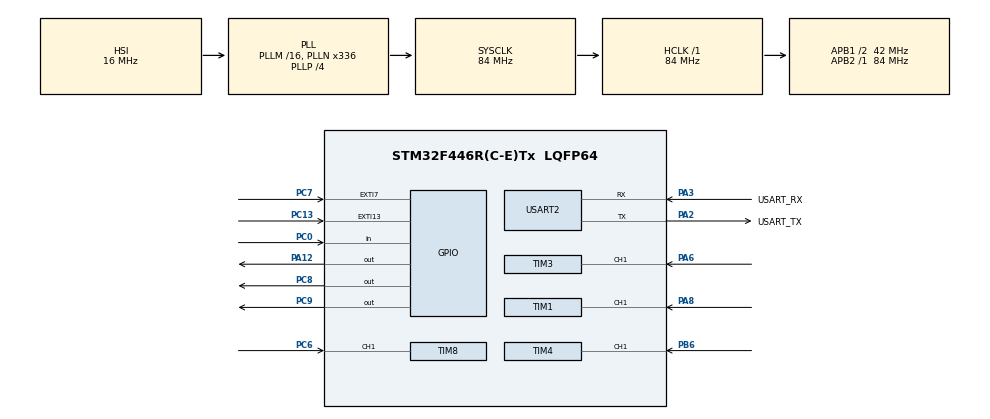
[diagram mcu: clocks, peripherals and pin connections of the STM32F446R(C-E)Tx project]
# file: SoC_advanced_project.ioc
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Mcu.Family=STM32F4
Mcu.Name=STM32F446R(C-E)Tx
Mcu.Package=LQFP64
NVIC.EXTI15_10_IRQn=true\:0\:0\:false\:false\:true\:true\:true\:true
NVIC.EXTI9_5_IRQn=true\:0\:0\:false\:false\:true\:true\:true\:true
NVIC.PriorityGroup=NVIC_PRIORITYGROUP_0
NVIC.TIM1_CC_IRQn=true\:0\:0\:false\:false\:true\:true\:true\:true
NVIC.TIM3_IRQn=true\:0\:0\:false\:false\:true\:true\:true\:true
NVIC.TIM4_IRQn=true\:0\:0\:false\:false\:true\:true\:true\:true
NVIC.TIM8_CC_IRQn=true\:0\:0\:false\:false\:true\:true\:true\:true
PA12.Signal=GPIO_Output
PA13.GPIO_Label=TMS
PA13.Mode=Serial_Wire
PA13.Signal=SYS_JTMS-SWDIO
PA14.GPIO_Label=TCK
PA14.Mode=Serial_Wire
PA14.Signal=SYS_JTCK-SWCLK
PA2.GPIO_Label=USART_TX
PA2.Mode=Asynchronous
PA2.Signal=USART2_TX
PA3.GPIO_Label=USART_RX
PA3.Mode=Asynchronous
PA3.Signal=USART2_RX
PA6.Signal=S_TIM3_CH1
PA8.Signal=S_TIM1_CH1
PB3.GPIO_Label=SWO
PB3.Signal=SYS_JTDO-SWO
PB6.Signal=S_TIM4_CH1
PC0.Signal=GPIO_Input
PC13.GPIO_ModeDefaultEXTI=GPIO_MODE_IT_RISING_FALLING
PC13.Signal=GPXTI13
PC14-OSC32_IN.Mode=LSE-External-Oscillator
PC14-OSC32_IN.Signal=RCC_OSC32_IN
PC15-OSC32_OUT.Mode=LSE-External-Oscillator
PC15-OSC32_OUT.Signal=RCC_OSC32_OUT
PC6.Signal=S_TIM8_CH1
PC7.GPIO_ModeDefaultEXTI=GPIO_MODE_IT_RISING_FALLING
PC7.Signal=GPXTI7
PC8.Signal=GPIO_Output
PC9.Signal=GPIO_Output
PH0-OSC_IN.Mode=HSE-External-Oscillator
PH0-OSC_IN.Signal=RCC_OSC_IN
PH1-OSC_OUT.Mode=HSE-External-Oscillator
PH1-OSC_OUT.Signal=RCC_OSC_OUT
ProjectManager.HeapSize=0x200
ProjectManager.StackSize=0x400
ProjectManager.TargetToolchain=STM32CubeIDE
RCC.48MHZClocksFreq_Value=84000000
RCC.AHBFreq_Value=84000000
RCC.APB1CLKDivider=RCC_HCLK_DIV2
RCC.APB1Freq_Value=42000000
RCC.APB1TimFreq_Value=84000000
RCC.APB2Freq_Value=84000000
RCC.APB2TimFreq_Value=84000000
RCC.CortexFreq_Value=84000000
RCC.FLatency-AdvancedSettings=FLASH_LATENCY_2
RCC.HCLKFreq_Value=84000000
RCC.HSE_VALUE=8000000
RCC.HSI_VALUE=16000000
RCC.PLLN=336
RCC.PLLP=RCC_PLLP_DIV4
RCC.SYSCLKFreq_VALUE=84000000
RCC.SYSCLKSource=RCC_SYSCLKSOURCE_PLLCLK
RCC.USBFreq_Value=168000000
RCC.VCOOutputFreq_Value=336000000
SH.S_TIM1_CH1.0=TIM1_CH1,Input_Capture1_from_TI1
SH.S_TIM3_CH1.0=TIM3_CH1,Input_Capture1_from_TI1
SH.S_TIM4_CH1.0=TIM4_CH1,Input_Capture1_from_TI1
SH.S_TIM8_CH1.0=TIM8_CH1,Input_Capture1_from_TI1
TIM1.Channel-Input_Capture1_from_TI1=TIM_CHANNEL_1
TIM1.Prescaler=84-1
TIM3.Channel-Input_Capture1_from_TI1=TIM_CHANNEL_1
TIM3.Prescaler=84-1
TIM4.Channel-Input_Capture1_from_TI1=TIM_CHANNEL_1
TIM4.Prescaler=84-1
TIM8.Channel-Input_Capture1_from_TI1=TIM_CHANNEL_1
TIM8.Prescaler=84-1
USART2.VirtualMode=VM_ASYNC
board=NUCLEO-F446RE

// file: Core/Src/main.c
/* USER CODE BEGIN Header */
/**
 ******************************************************************************
 * @file           : main.c
 * @brief          : Main program body
 ******************************************************************************
 * @attention
 *
 * Copyright (c) 2023 STMicroelectronics.
 * All rights reserved.
 *
 * This software is licensed under terms that can be found in the LICENSE file
 * in the root directory of this software component.
 * If no LICENSE file comes with this software, it is provided AS-IS.
 *
 ******************************************************************************
 */
/* USER CODE END Header */
#include "main.h"

/* USER CODE BEGIN Includes */
#include <stdio.h>
#include <stdbool.h>
#include <string.h>
#include <math.h>
#include <stdlib.h>
#include <time.h>
/* USER CODE END Includes */

/* USER CODE BEGIN PM */
#define TRIG_PIN GPIO_PIN_8
#define TRIG_PORT GPIOC
#define WINDOW_SIZE 3
#define THRESHOLD 10
#define STRIKE_LIMIT 3
/* USER CODE END PM */

TIM_HandleTypeDef htim1;
TIM_HandleTypeDef htim3;
TIM_HandleTypeDef htim4;
TIM_HandleTypeDef htim8;

UART_HandleTypeDef huart2;

void SystemClock_Config(void);
static void MX_GPIO_Init(void);
static void MX_USART2_UART_Init(void);
static void MX_TIM1_Init(void);
static void MX_TIM8_Init(void);
static void MX_TIM3_Init(void);
static void MX_TIM4_Init(void);
/* USER CODE BEGIN PFP */
void turn_ignition_on();
void turn_vehicle_on();
bool check_alcohol_level();
void start_measurement();
void uS_delay(uint16_t delay);
void HAL_TIM_IC_CaptureCallback(TIM_HandleTypeDef *htim);
void verify_sensor_measurements();
float calculate_median(float *data_points);
void median_util(float *arr, int l, int r, int k, int *a, int *b);
int random_partition(float *arr, int l, int r);
int partition(float *arr, int l, int r);
void swap(float *a, float *b);
void check_sensor_measurements();
void check_distance_status();
void HAL_GPIO_EXTI_Callback(uint16_t GPIO_Pin);
void driver_asleep();
void turn_vehicle_off();
void turn_ignition_off();
/* USER CODE END PFP */

/* USER CODE BEGIN 0 */

/* Global variables for state and measurements*/

// Car starting status and parameters
bool is_car_on = false;
bool is_ignition_on = false;
bool is_sleep_detected = false;
uint32_t oneSec = 0;
uint32_t twoSec = 0;
uint8_t measurements_count = 0;

// Final distance measurements
float final_front_distance = 0;
float final_back_distance = 0;

// Front sensor 1
uint32_t start_of_pulse_front_sensor1 = 0;
uint32_t end_of_pulse_front_sensor1 = 0;
uint32_t difference_front_sensor1 = 0;
bool is_start_captured_front_sensor1 = false;
float distance_front_sensor1 = 0;
float window_front_sensor1[WINDOW_SIZE];
bool is_front_sensor1_operative = true;
uint8_t front_sensor1_strikes = 0;

// Front sensor 2
uint32_t start_of_pulse_front_sensor2 = 0;
uint32_t end_of_pulse_front_sensor2 = 0;
uint32_t difference_front_sensor2 = 0;
bool is_start_captured_front_sensor2 = false;
float distance_front_sensor2 = 0;
float window_front_sensor2[WINDOW_SIZE];
bool is_front_sensor2_operative = true;
uint8_t front_sensor2_strikes = 0;

// Back sensor 1
uint32_t start_of_pulse_back_sensor1 = 0;
uint32_t end_of_pulse_back_sensor1 = 0;
uint32_t difference_back_sensor1 = 0;
bool is_start_captured_back_sensor1 = false;
float distance_back_sensor1 = 0;
float window_back_sensor1[WINDOW_SIZE];
bool is_back_sensor1_operative = true;
uint8_t back_sensor1_strikes = 0;

// Back sensor 2
uint32_t start_of_pulse_back_sensor2 = 0;
uint32_t end_of_pulse_back_sensor2 = 0;
uint32_t difference_back_sensor2 = 0;
bool is_start_captured_back_sensor2 = false;
float distance_back_sensor2 = 0;
float window_back_sensor2[WINDOW_SIZE];
bool is_back_sensor2_operative = true;
uint8_t back_sensor2_strikes = 0;

/* Functions */

/**
 * @brief Emulates turning on the car ignition.
 * @param None
 * @retval None
 */
void turn_ignition_on() {

	is_sleep_detected = false;
	is_ignition_on = true;
	char txt[] = "Turning Ignition ON...\n\r";
	HAL_UART_Transmit(&huart2, (const uint8_t*) txt, strlen(txt), 100);

}

/**
 * @brief Emulates turning on the car.
 * @param None
 * @retval None
 */
void turn_vehicle_on() {

	char txt[] = "Turning car ON...\n\r";
	HAL_UART_Transmit(&huart2, (const uint8_t*) txt, strlen(txt), 100);
	is_car_on = true;

}

/**
 * @brief Checks alcohol level to determine if car is allowed to be started (low alcohol level)
 * or if car is not allowed to start (high alcohol level.)
 * @param None
 * @retval false Alcohol level low --> start car
 * @retval true Alcohol level high --> turn car off
 */
bool check_alcohol_level() {

	char txt[] = "Testing alcohol level...\n\r";
	HAL_UART_Transmit(&huart2, (const uint8_t*) txt, strlen(txt), 100);
	HAL_Delay(5000);

	if (HAL_GPIO_ReadPin(GPIOC, GPIO_PIN_0) == GPIO_PIN_RESET) {
		char txt[] = "Alcohol level high! ";
		HAL_UART_Transmit(&huart2, (const uint8_t*) txt, strlen(txt), 100);
		return true;
	}

	else {
		char txt[] = "Alcohol level low. ";
		HAL_UART_Transmit(&huart2, (const uint8_t*) txt, strlen(txt), 100);
		return false;
	}

}

/**
 * @brief Triggers the sensors to start measuring the distances.
 * @param None
 * @retval None
 */
void start_measurement() {

	// Pull pin high for 10 us to trigger measurement
	HAL_GPIO_WritePin(TRIG_PORT, TRIG_PIN, GPIO_PIN_SET);
	uS_delay(10);
	HAL_GPIO_WritePin(TRIG_PORT, TRIG_PIN, GPIO_PIN_RESET);

	// Only trigger sensor measurement if sensor is not disabled
	if (is_front_sensor1_operative == true) {
		__HAL_TIM_ENABLE_IT(&htim1, TIM_IT_CC1);
	}
	if (is_front_sensor2_operative == true) {
		__HAL_TIM_ENABLE_IT(&htim8, TIM_IT_CC1);
	}
	if (is_back_sensor2_operative == true) {
		__HAL_TIM_ENABLE_IT(&htim3, TIM_IT_CC1);
	}
	if (is_back_sensor1_operative == true) {
		__HAL_TIM_ENABLE_IT(&htim4, TIM_IT_CC1);
	}

	measurements_count =
			measurements_count < 3 ?
					measurements_count + 1 : measurements_count;

}

/**
 * @brief Delay function in microseconds.
 * @param[in] delay The delay time.
 * @retval None
 */
void uS_delay(uint16_t delay) {

	__HAL_TIM_SET_COUNTER(&htim1, 0);
	while (__HAL_TIM_GET_COUNTER(&htim1) < delay)
		;

}

/**
 * @brief Callback function to capture inputs from the distance sensors on change.
 * @param[in] htim The timer instance that triggered the Callback function.
 * @retval None
 */
void HAL_TIM_IC_CaptureCallback(TIM_HandleTypeDef *htim) {

	// Front sensor 1
	if (htim->Instance == TIM1) {
		// Start of pulse
		if (is_start_captured_front_sensor1 == false) {
			start_of_pulse_front_sensor1 = HAL_TIM_ReadCapturedValue(htim,
					TIM_CHANNEL_1);
			is_start_captured_front_sensor1 = true;
			// Change polarity to capture 'Falling Edge'
			__HAL_TIM_SET_CAPTUREPOLARITY(htim, TIM_CHANNEL_1,
					TIM_INPUTCHANNELPOLARITY_FALLING);
		}

		// End of pulse from sensor
		else if (is_start_captured_front_sensor1 == true) {
			end_of_pulse_front_sensor1 = HAL_TIM_ReadCapturedValue(htim,
					TIM_CHANNEL_1);
			__HAL_TIM_SET_COUNTER(htim, 0);

			if (end_of_pulse_front_sensor1 > start_of_pulse_front_sensor1) {
				difference_front_sensor1 = end_of_pulse_front_sensor1
						- start_of_pulse_front_sensor1;
			}

			else if (start_of_pulse_front_sensor1
					> end_of_pulse_front_sensor1) {
				difference_front_sensor1 = (0xffff
						- start_of_pulse_front_sensor1)
						+ end_of_pulse_front_sensor1;
			}

			distance_front_sensor1 = (difference_front_sensor1 * .034 / 2);
			is_start_captured_front_sensor1 = false;

			// Change polarity to capture 'Rising Edge'
			__HAL_TIM_SET_CAPTUREPOLARITY(htim, TIM_CHANNEL_1,
					TIM_INPUTCHANNELPOLARITY_RISING);
			__HAL_TIM_DISABLE_IT(&htim1, TIM_IT_CC1);
		}
	}

	// Front sensor 2
	else if (htim->Instance == TIM8) {
		// Start of pulse
		if (is_start_captured_front_sensor2 == false) {
			start_of_pulse_front_sensor2 = HAL_TIM_ReadCapturedValue(htim,
					TIM_CHANNEL_1);
			is_start_captured_front_sensor2 = true;
			// Change polarity to capture 'Falling Edge'
			__HAL_TIM_SET_CAPTUREPOLARITY(htim, TIM_CHANNEL_1,
					TIM_INPUTCHANNELPOLARITY_FALLING);
		}

		// End of pulse from sensor
		else if (is_start_captured_front_sensor2 == true) {
			end_of_pulse_front_sensor2 = HAL_TIM_ReadCapturedValue(htim,
					TIM_CHANNEL_1);
			__HAL_TIM_SET_COUNTER(htim, 0);

			if (end_of_pulse_front_sensor2 > start_of_pulse_front_sensor2) {
				difference_front_sensor2 = end_of_pulse_front_sensor2
						- start_of_pulse_front_sensor2;
			}

			else if (start_of_pulse_front_sensor2
					> end_of_pulse_front_sensor2) {
				difference_front_sensor2 = (0xffff
						- start_of_pulse_front_sensor2)
						+ end_of_pulse_front_sensor2;
			}

			distance_front_sensor2 = (difference_front_sensor2 * .034 / 2);
			is_start_captured_front_sensor2 = false;

			// Change polarity to capture 'Rising Edge'
			__HAL_TIM_SET_CAPTUREPOLARITY(htim, TIM_CHANNEL_1,
					TIM_INPUTCHANNELPOLARITY_RISING);
			__HAL_TIM_DISABLE_IT(&htim8, TIM_IT_CC1);
		}
	}

	// Back sensor 2
	else if (htim->Instance == TIM3) {
		// Start of pulse
		if (is_start_captured_back_sensor2 == false) {
			start_of_pulse_back_sensor2 = HAL_TIM_ReadCapturedValue(htim,
					TIM_CHANNEL_1);
			is_start_captured_back_sensor2 = true;
			// Change polarity to capture 'Falling Edge'
			__HAL_TIM_SET_CAPTUREPOLARITY(htim, TIM_CHANNEL_1,
					TIM_INPUTCHANNELPOLARITY_FALLING);
		}

		// End of pulse from sensor
		else if (is_start_captured_back_sensor2 == true) {
			end_of_pulse_back_sensor2 = HAL_TIM_ReadCapturedValue(htim,
					TIM_CHANNEL_1);
			__HAL_TIM_SET_COUNTER(htim, 0);

			if (end_of_pulse_back_sensor2 > start_of_pulse_back_sensor2) {
				difference_back_sensor2 = end_of_pulse_back_sensor2
						- start_of_pulse_back_sensor2;
			}

			else if (start_of_pulse_back_sensor2 > end_of_pulse_back_sensor2) {
				difference_back_sensor2 = (0xffff - start_of_pulse_back_sensor2)
						+ end_of_pulse_back_sensor2;
			}

			distance_back_sensor2 = (difference_back_sensor2 * .034 / 2);
			is_start_captured_back_sensor2 = false;

			// Change polarity to capture 'Rising Edge'
			__HAL_TIM_SET_CAPTUREPOLARITY(htim, TIM_CHANNEL_1,
					TIM_INPUTCHANNELPOLARITY_RISING);
			__HAL_TIM_DISABLE_IT(&htim3, TIM_IT_CC1);
		}
	}

	// Back sensor 1
	else if (htim->Instance == TIM4) {
		// Start of pulse
		if (is_start_captured_back_sensor1 == false) {
			start_of_pulse_back_sensor1 = HAL_TIM_ReadCapturedValue(htim,
					TIM_CHANNEL_1);
			is_start_captured_back_sensor1 = true;
			// Change polarity to capture 'Falling Edge'
			__HAL_TIM_SET_CAPTUREPOLARITY(htim, TIM_CHANNEL_1,
					TIM_INPUTCHANNELPOLARITY_FALLING);
		}

		// End of pulse from sensor
		else if (is_start_captured_back_sensor1 == true) {
			end_of_pulse_back_sensor1 = HAL_TIM_ReadCapturedValue(htim,
					TIM_CHANNEL_1);
			__HAL_TIM_SET_COUNTER(htim, 0);

			if (end_of_pulse_back_sensor1 > start_of_pulse_back_sensor1) {
				difference_back_sensor1 = end_of_pulse_back_sensor1
						- start_of_pulse_back_sensor1;
			}

			else if (start_of_pulse_back_sensor1 > end_of_pulse_back_sensor1) {
				difference_back_sensor1 = (0xffff - start_of_pulse_back_sensor1)
						+ end_of_pulse_back_sensor1;
			}

			distance_back_sensor1 = (difference_back_sensor1 * .034 / 2);
			is_start_captured_back_sensor1 = false;

			// Change polarity to capture 'Rising Edge'
			__HAL_TIM_SET_CAPTUREPOLARITY(htim, TIM_CHANNEL_1,
					TIM_INPUTCHANNELPOLARITY_RISING);
			__HAL_TIM_DISABLE_IT(&htim4, TIM_IT_CC1);
		}
	}
}

/**
 * @brief Verifying the new captured value of all sensors using a "Running Median" algorithm
 * with a given THRESHOLD value, to detect outliers and possible sensor malfunction during runtime.
 * @param None
 * @retval None
 */
void verify_sensor_measurements() {

	switch (measurements_count) {
	case 1:
		window_front_sensor1[0] = floorf(distance_front_sensor1 * 100) / 100;
		window_front_sensor2[0] = floorf(distance_front_sensor2 * 100) / 100;
		window_back_sensor1[0] = floorf(distance_back_sensor1 * 100) / 100;
		window_back_sensor2[0] = floorf(distance_back_sensor2 * 100) / 100;
		break;
	case 2:
		window_front_sensor1[1] = floorf(distance_front_sensor1 * 100) / 100;
		window_front_sensor2[1] = floorf(distance_front_sensor2 * 100) / 100;
		window_back_sensor1[1] = floorf(distance_back_sensor1 * 100) / 100;
		window_back_sensor2[1] = floorf(distance_back_sensor2 * 100) / 100;
		break;
	case 3:
		window_front_sensor1[2] = floorf(distance_front_sensor1 * 100) / 100;
		window_front_sensor2[2] = floorf(distance_front_sensor2 * 100) / 100;
		window_back_sensor1[2] = floorf(distance_back_sensor1 * 100) / 100;
		window_back_sensor2[2] = floorf(distance_back_sensor2 * 100) / 100;
		break;
	default:

		for (int i = 0; i < WINDOW_SIZE - 1; i++) {
			window_front_sensor1[i] = window_front_sensor1[i + 1];
			window_front_sensor2[i] = window_front_sensor2[i + 1];
			window_back_sensor1[i] = window_back_sensor1[i + 1];
			window_back_sensor2[i] = window_back_sensor2[i + 1];
		}
		window_front_sensor1[2] = floorf(distance_front_sensor1 * 100) / 100;
		window_front_sensor2[2] = floorf(distance_front_sensor2 * 100) / 100;
		window_back_sensor1[2] = floorf(distance_back_sensor1 * 100) / 100;
		window_back_sensor2[2] = floorf(distance_back_sensor2 * 100) / 100;

		float median_front_sensor1 = calculate_median(window_front_sensor1);
		float median_front_sensor2 = calculate_median(window_front_sensor2);
		float median_back_sensor1 = calculate_median(window_back_sensor1);
		float median_back_sensor2 = calculate_median(window_back_sensor2);

		if(fabs(window_front_sensor1[2] - median_front_sensor1) > THRESHOLD){

			front_sensor1_strikes +=1;
			window_front_sensor1[2] = median_front_sensor1;
			distance_front_sensor1 = median_front_sensor1;
		}
		else{
			front_sensor1_strikes = 0;
		}

		if(fabs(window_front_sensor2[2] - median_front_sensor2) > THRESHOLD){

			front_sensor2_strikes +=1;
			window_front_sensor2[2] = median_front_sensor2;
			distance_front_sensor2 = median_front_sensor2;
		}
		else{
			front_sensor2_strikes = 0;
		}

		if(fabs(window_back_sensor1[2] - median_back_sensor1) > THRESHOLD){

			back_sensor1_strikes +=1;
			window_back_sensor1[2] = median_back_sensor1;
			distance_back_sensor1 = median_back_sensor1;
		}
		else{
			back_sensor1_strikes = 0;
		}

		if(fabs(window_back_sensor2[2] - median_back_sensor2) > THRESHOLD){

			back_sensor2_strikes +=1;
			window_back_sensor2[2] = median_back_sensor2;
			distance_back_sensor2 = median_back_sensor2;
		}
		else{
			back_sensor2_strikes = 0;
		}

		is_front_sensor1_operative =
				front_sensor1_strikes < STRIKE_LIMIT ? true : false;
		is_front_sensor2_operative =
				front_sensor2_strikes < STRIKE_LIMIT ? true : false;
		is_back_sensor1_operative =
				back_sensor1_strikes < STRIKE_LIMIT ? true : false;
		is_back_sensor2_operative =
				back_sensor2_strikes < STRIKE_LIMIT ? true : false;

		break;
	}
}

/**
 * @brief Calculates the median of an unsorted array using the Quick Select algorithm for performance boost.
 * @param[in] data_points An array of a given WINDOW_SIZE containing the previous and new measured values.
 * @retval ans The calculated median.
 */
float calculate_median(float *data_points) {
	int ans = 0;
	int a = -1;
	int b = -1;
	int n = WINDOW_SIZE;

	// If n is odd
	if (n % 2 == 1) {
		median_util(data_points, 0, n - 1, n / 2, &a, &b);
		ans = b;
	}
	// If n is even
	else {
		median_util(data_points, 0, n - 1, n / 2, &a, &b);
		ans = (a + b) / 2;
	}

	return ans;
}

/**
 * @brief Utility function to find median.
 * @param[in] arr An array of a given WINDOW_SIZE containing the previous and new measured values.
 * @param[in] l Index of the left most value.
 * @param[in] r Index of the right most value.
 * @param[in] k Index of the median if list/array were to be sorted.
 * @param[in] a Helper value to get final result.
 * @param[in] b Helper value to get final result.
 * @retval None
 */
void median_util(float *arr, int l, int r, int k, int *a, int *b) {

	// if l < r
	if (l <= r) {

		// Find the partition index
		int partitionIndex = random_partition(arr, l, r);

		// If partition index = k, then
		// we found the median of odd
		// number element in arr[]
		if (partitionIndex == k) {
			*b = arr[partitionIndex];
			if (*a != -1)
				return;
		}

		// If index = k - 1, then we get
		// a & b as middle element of
		// arr[]
		else if (partitionIndex == k - 1) {
			*a = arr[partitionIndex];
			if (*b != -1)
				return;
		}

		// If partitionIndex >= k then
		// find the index in first half
		// of the arr[]
		if (partitionIndex >= k)
			return median_util(arr, l, partitionIndex - 1, k, a, b);

		// If partitionIndex <= k then
		// find the index in second half
		// of the arr[]
		else
			return median_util(arr, partitionIndex + 1, r, k, a, b);
	}

	return;
}

/**
 * @brief Picks a random pivot element between l and r and partitions arr[l..r] around the randomly picked element.
 * @param[in] arr An array of a given WINDOW_SIZE containing the previous and new measured values.
 * @param[in] l
 * @param[in] r
 * @retval p Correct position of pivot element.
 */
int random_partition(float *arr, int l, int r) {

	int n = r - l + 1;
	int pivot = rand() % n;
	swap(&arr[l + pivot], &arr[r]);
	int p = partition(arr, l, r);

	return p;
}

/**
 * @brief Calculates the correct position of pivot element.
 * @param[in] arr An array of a given WINDOW_SIZE containing the previous and new measured values.
 * @param[in] l Index of the left most value.
 * @param[in] r Index of the right most value.
 * @retval i Correct position of pivot element.
 */
int partition(float *arr, int l, int r) {

	float lst = arr[r];
	int i = l;
	int j = l;
	while (j < r) {
		if (arr[j] < lst) {
			swap(&arr[i], &arr[j]);
			i++;
		}
		j++;
	}
	swap(&arr[i], &arr[r]);
	return i;
}

/**
 * @brief Swapping elements.
 * @param[in] a Element to be swapped.
 * @param[in] b Element to be swapped.
 * @retval None.
 */
void swap(float *a, float *b) {

	float temp = *a;
	*a = *b;
	*b = temp;
}

/**
 * @brief Checks sensors states and and assigns final distance values through cross checking.
 * @param None
 * @retval None.
 */
void check_sensor_measurements() {

	bool isContinue = false;
	// Both sensors operational
	if (is_front_sensor1_operative == true && is_front_sensor2_operative == true) {
		final_front_distance = (distance_front_sensor1 + distance_front_sensor2)
				/ 2.0;
		isContinue = true;
	}
	// One sensor faulty
	else if (is_front_sensor1_operative == false
			&& is_front_sensor2_operative == true) {
		final_front_distance = distance_front_sensor2;
		isContinue = true;
	} else if (is_front_sensor1_operative == true
			&& is_front_sensor2_operative == false) {
		final_front_distance = distance_front_sensor1;
		isContinue = true;
	}
	// Both sensors faulty
	else {
		char txt[] =
				"Both front sensors failed!\n\rEntering Safe-State-Mode!\n\r";
		HAL_UART_Transmit(&huart2, (const uint8_t*) txt, strlen(txt), 100);
		turn_vehicle_off();
	}

	// Both sensors operational
	if (is_back_sensor1_operative == true && is_back_sensor2_operative == true) {
		final_back_distance = (distance_back_sensor1 + distance_back_sensor2)
				/ 2.0;
		isContinue = true;

	}
	// One sensor faulty
	else if (is_back_sensor1_operative == false
			&& is_back_sensor2_operative == true) {
		final_back_distance = distance_back_sensor2;
		isContinue = true;
	} else if (is_back_sensor1_operative == true
			&& is_back_sensor2_operative == false) {
		final_back_distance = distance_back_sensor1;
		isContinue = true;
	}
	// Both sensors faulty
	else {
		char txt[] = "Both back sensors failed!\n\rGoing into Safe-State!\n\r";
		HAL_UART_Transmit(&huart2, (const uint8_t*) txt, strlen(txt), 100);
		turn_vehicle_off();
	}

	if (isContinue == true) {
		check_distance_status();
	}
}

/**
 * @brief Checks if distances abide by specifications to detect if objects are to close.
 * @param None
 * @retval None.
 */
void check_distance_status() {

	char buffer_front[26]; // buffer to store the string
	char buffer_back[25]; // buffer to store the string

	sprintf(buffer_front, "Front distance: %.2f cm\n\r", final_front_distance);
	sprintf(buffer_back, "Back distance: %.2f cm\n\r", final_back_distance);

	if (final_front_distance < 5.0 || final_back_distance < 5) {
		HAL_GPIO_WritePin(GPIOC, GPIO_PIN_9, GPIO_PIN_RESET);
		HAL_GPIO_WritePin(GPIOA, GPIO_PIN_12, GPIO_PIN_SET);

		if (oneSec > 1000) {
			HAL_UART_Transmit(&huart2, (const uint8_t*) buffer_front,
					strlen(buffer_front), 100);
			HAL_UART_Transmit(&huart2, (const uint8_t*) buffer_back,
					strlen(buffer_back), 100);
			oneSec = 0;
		}
		oneSec += 20;
		twoSec += 20;
		HAL_Delay(20);
	} else {
		HAL_GPIO_WritePin(GPIOC, GPIO_PIN_9, GPIO_PIN_SET);
		HAL_GPIO_WritePin(GPIOA, GPIO_PIN_12, GPIO_PIN_RESET);

		if (oneSec > 1000) {
			HAL_UART_Transmit(&huart2, (const uint8_t*) buffer_front,
					strlen(buffer_front), 100);
			HAL_UART_Transmit(&huart2, (const uint8_t*) buffer_back,
					strlen(buffer_back), 100);
			oneSec = 0;
		}
		oneSec += 40;
		twoSec += 40;
		HAL_Delay(40);
	}

	if (is_sleep_detected == true && twoSec > 2000) {
		driver_asleep();
	}
}

/**
 * @brief Callback function to capture changes on Push Button line and IR sensor line for Eye blinking tracking.
 * @param[in] GPIO_Pin Pin that triggered the Callback function.
 * @retval None.
 */
void HAL_GPIO_EXTI_Callback(uint16_t GPIO_Pin) {

	if (GPIO_Pin == GPIO_PIN_13) {
		if (HAL_GPIO_ReadPin(GPIOC, GPIO_PIN_13) == GPIO_PIN_RESET) {
			if (is_ignition_on == false) {
				turn_ignition_on();
			} else {
				turn_vehicle_off();
			}
		}
	}

	if (GPIO_Pin == GPIO_PIN_7) {
		if (HAL_GPIO_ReadPin(GPIOC, GPIO_PIN_7) == GPIO_PIN_RESET) {
			twoSec = 0;
			is_sleep_detected = true;
		} else if (HAL_GPIO_ReadPin(GPIOC, GPIO_PIN_7) == GPIO_PIN_SET) {
			if (twoSec > 2000) {
				is_sleep_detected = true;
			} else {
				is_sleep_detected = false;
			}
		}
	}
}

/**
 * @brief After sleep detection, emulate vehicle going into Safe-State and notify through alarm that sleep was detected.
 * @param None
 * @retval None.
 */
void driver_asleep() {
	char txt[] = "Driver  asleep!\n\rEntering Safe-State-Mode!\n\r";
	HAL_UART_Transmit(&huart2, (const uint8_t*) txt, strlen(txt), 100);
	HAL_GPIO_WritePin(GPIOC, GPIO_PIN_9, GPIO_PIN_RESET);
	HAL_GPIO_WritePin(GPIOA, GPIO_PIN_12, GPIO_PIN_SET);
	HAL_Delay(2000);
	is_sleep_detected = false;
	turn_vehicle_off();
}

/**
 * @brief Emulates vehicle shutdown.
 * @param None
 * @retval None.
 */
void turn_vehicle_off() {
	char txt[] = "Turning car OFF...\n\r";
	HAL_UART_Transmit(&huart2, (const uint8_t*) txt, strlen(txt), 100);
	is_car_on = false;
	turn_ignition_off();

}

/**
 * @brief Emulates ignition shutdown.
 * @param None
 * @retval None.
 */
void turn_ignition_off() {
	is_ignition_on = false;
	char txt[] = "Turning Ignition OFF...\n\r";
	HAL_UART_Transmit(&huart2, (const uint8_t*) txt, strlen(txt), 100);
	measurements_count = 0;
	HAL_GPIO_WritePin(GPIOC, GPIO_PIN_9, GPIO_PIN_RESET);
	HAL_GPIO_WritePin(GPIOA, GPIO_PIN_12, GPIO_PIN_RESET);
}

/* USER CODE END 0 */

int main(void) {

	/* MCU Configuration--------------------------------------------------------*/

	/* Reset of all peripherals, Initializes the Flash interface and the Systick. */
	HAL_Init();

	/* Configure the system clock */
	SystemClock_Config();

	/* Initialize all configured peripherals */
	MX_GPIO_Init();
	MX_USART2_UART_Init();
	MX_TIM1_Init();
	MX_TIM8_Init();
	MX_TIM3_Init();
	MX_TIM4_Init();
	/* USER CODE BEGIN 2 */
	HAL_TIM_IC_Start_IT(&htim1, TIM_CHANNEL_1);
	HAL_TIM_IC_Start_IT(&htim8, TIM_CHANNEL_1);
	HAL_TIM_IC_Start_IT(&htim3, TIM_CHANNEL_1);
	HAL_TIM_IC_Start_IT(&htim4, TIM_CHANNEL_1);
	/* USER CODE END 2 */

	/* Infinite loop */
	/* USER CODE BEGIN WHILE */

	while (1) {
		if (is_ignition_on == true) {
			if (is_car_on == false) {
				if (check_alcohol_level() == true) {
					turn_vehicle_off();
				} else {
					turn_vehicle_on();
					//start_measurement();
				}
			} else {
				while (is_car_on == true) {
					start_measurement();
					verify_sensor_measurements();
					check_sensor_measurements();
				}
			}
		}

		/* USER CODE END WHILE */

	}
}

void SystemClock_Config(void) {
	RCC_OscInitTypeDef RCC_OscInitStruct = { 0 };
	RCC_ClkInitTypeDef RCC_ClkInitStruct = { 0 };

	/** Configure the main internal regulator output voltage
	 */
	__HAL_RCC_PWR_CLK_ENABLE();
	__HAL_PWR_VOLTAGESCALING_CONFIG(PWR_REGULATOR_VOLTAGE_SCALE3);

	/** Initializes the RCC Oscillators according to the specified parameters
	 * in the RCC_OscInitTypeDef structure.
	 */
	RCC_OscInitStruct.OscillatorType = RCC_OSCILLATORTYPE_HSI;
	RCC_OscInitStruct.HSIState = RCC_HSI_ON;
	RCC_OscInitStruct.HSICalibrationValue = RCC_HSICALIBRATION_DEFAULT;
	RCC_OscInitStruct.PLL.PLLState = RCC_PLL_ON;
	RCC_OscInitStruct.PLL.PLLSource = RCC_PLLSOURCE_HSI;
	RCC_OscInitStruct.PLL.PLLM = 16;
	RCC_OscInitStruct.PLL.PLLN = 336;
	RCC_OscInitStruct.PLL.PLLP = RCC_PLLP_DIV4;
	RCC_OscInitStruct.PLL.PLLQ = 2;
	RCC_OscInitStruct.PLL.PLLR = 2;
	if (HAL_RCC_OscConfig(&RCC_OscInitStruct) != HAL_OK) {
		Error_Handler();
	}

	/** Initializes the CPU, AHB and APB buses clocks
	 */
	RCC_ClkInitStruct.ClockType = RCC_CLOCKTYPE_HCLK | RCC_CLOCKTYPE_SYSCLK
			| RCC_CLOCKTYPE_PCLK1 | RCC_CLOCKTYPE_PCLK2;
	RCC_ClkInitStruct.SYSCLKSource = RCC_SYSCLKSOURCE_PLLCLK;
	RCC_ClkInitStruct.AHBCLKDivider = RCC_SYSCLK_DIV1;
	RCC_ClkInitStruct.APB1CLKDivider = RCC_HCLK_DIV2;
	RCC_ClkInitStruct.APB2CLKDivider = RCC_HCLK_DIV1;

	if (HAL_RCC_ClockConfig(&RCC_ClkInitStruct, FLASH_LATENCY_2) != HAL_OK) {
		Error_Handler();
	}
}

static void MX_TIM1_Init(void) {

	TIM_MasterConfigTypeDef sMasterConfig = { 0 };
	TIM_IC_InitTypeDef sConfigIC = { 0 };

	htim1.Instance = TIM1;
	htim1.Init.Prescaler = 84 - 1;
	htim1.Init.CounterMode = TIM_COUNTERMODE_UP;
	htim1.Init.Period = 65535;
	htim1.Init.ClockDivision = TIM_CLOCKDIVISION_DIV1;
	htim1.Init.RepetitionCounter = 0;
	htim1.Init.AutoReloadPreload = TIM_AUTORELOAD_PRELOAD_DISABLE;
	if (HAL_TIM_IC_Init(&htim1) != HAL_OK) {
		Error_Handler();
	}
	sMasterConfig.MasterOutputTrigger = TIM_TRGO_RESET;
	sMasterConfig.MasterSlaveMode = TIM_MASTERSLAVEMODE_DISABLE;
	if (HAL_TIMEx_MasterConfigSynchronization(&htim1, &sMasterConfig)
			!= HAL_OK) {
		Error_Handler();
	}
	sConfigIC.ICPolarity = TIM_INPUTCHANNELPOLARITY_RISING;
	sConfigIC.ICSelection = TIM_ICSELECTION_DIRECTTI;
	sConfigIC.ICPrescaler = TIM_ICPSC_DIV1;
	sConfigIC.ICFilter = 0;
	if (HAL_TIM_IC_ConfigChannel(&htim1, &sConfigIC, TIM_CHANNEL_1) != HAL_OK) {
		Error_Handler();
	}

}

static void MX_TIM3_Init(void) {

	TIM_MasterConfigTypeDef sMasterConfig = { 0 };
	TIM_IC_InitTypeDef sConfigIC = { 0 };

	htim3.Instance = TIM3;
	htim3.Init.Prescaler = 84 - 1;
	htim3.Init.CounterMode = TIM_COUNTERMODE_UP;
	htim3.Init.Period = 65535;
	htim3.Init.ClockDivision = TIM_CLOCKDIVISION_DIV1;
	htim3.Init.AutoReloadPreload = TIM_AUTORELOAD_PRELOAD_DISABLE;
	if (HAL_TIM_IC_Init(&htim3) != HAL_OK) {
		Error_Handler();
	}
	sMasterConfig.MasterOutputTrigger = TIM_TRGO_RESET;
	sMasterConfig.MasterSlaveMode = TIM_MASTERSLAVEMODE_DISABLE;
	if (HAL_TIMEx_MasterConfigSynchronization(&htim3, &sMasterConfig)
			!= HAL_OK) {
		Error_Handler();
	}
	sConfigIC.ICPolarity = TIM_INPUTCHANNELPOLARITY_RISING;
	sConfigIC.ICSelection = TIM_ICSELECTION_DIRECTTI;
	sConfigIC.ICPrescaler = TIM_ICPSC_DIV1;
	sConfigIC.ICFilter = 0;
	if (HAL_TIM_IC_ConfigChannel(&htim3, &sConfigIC, TIM_CHANNEL_1) != HAL_OK) {
		Error_Handler();
	}

}

static void MX_TIM4_Init(void) {

	TIM_MasterConfigTypeDef sMasterConfig = { 0 };
	TIM_IC_InitTypeDef sConfigIC = { 0 };

	htim4.Instance = TIM4;
	htim4.Init.Prescaler = 84 - 1;
	htim4.Init.CounterMode = TIM_COUNTERMODE_UP;
	htim4.Init.Period = 65535;
	htim4.Init.ClockDivision = TIM_CLOCKDIVISION_DIV1;
	htim4.Init.AutoReloadPreload = TIM_AUTORELOAD_PRELOAD_DISABLE;
	if (HAL_TIM_IC_Init(&htim4) != HAL_OK) {
		Error_Handler();
	}
	sMasterConfig.MasterOutputTrigger = TIM_TRGO_RESET;
	sMasterConfig.MasterSlaveMode = TIM_MASTERSLAVEMODE_DISABLE;
	if (HAL_TIMEx_MasterConfigSynchronization(&htim4, &sMasterConfig)
			!= HAL_OK) {
		Error_Handler();
	}
	sConfigIC.ICPolarity = TIM_INPUTCHANNELPOLARITY_RISING;
	sConfigIC.ICSelection = TIM_ICSELECTION_DIRECTTI;
	sConfigIC.ICPrescaler = TIM_ICPSC_DIV1;
	sConfigIC.ICFilter = 0;
	if (HAL_TIM_IC_ConfigChannel(&htim4, &sConfigIC, TIM_CHANNEL_1) != HAL_OK) {
		Error_Handler();
	}

}

static void MX_TIM8_Init(void) {

	TIM_MasterConfigTypeDef sMasterConfig = { 0 };
	TIM_IC_InitTypeDef sConfigIC = { 0 };

	htim8.Instance = TIM8;
	htim8.Init.Prescaler = 84 - 1;
	htim8.Init.CounterMode = TIM_COUNTERMODE_UP;
	htim8.Init.Period = 65535;
	htim8.Init.ClockDivision = TIM_CLOCKDIVISION_DIV1;
	htim8.Init.RepetitionCounter = 0;
	htim8.Init.AutoReloadPreload = TIM_AUTORELOAD_PRELOAD_DISABLE;
	if (HAL_TIM_IC_Init(&htim8) != HAL_OK) {
		Error_Handler();
	}
	sMasterConfig.MasterOutputTrigger = TIM_TRGO_RESET;
	sMasterConfig.MasterSlaveMode = TIM_MASTERSLAVEMODE_DISABLE;
	if (HAL_TIMEx_MasterConfigSynchronization(&htim8, &sMasterConfig)
			!= HAL_OK) {
		Error_Handler();
	}
	sConfigIC.ICPolarity = TIM_INPUTCHANNELPOLARITY_RISING;
	sConfigIC.ICSelection = TIM_ICSELECTION_DIRECTTI;
	sConfigIC.ICPrescaler = TIM_ICPSC_DIV1;
	sConfigIC.ICFilter = 0;
	if (HAL_TIM_IC_ConfigChannel(&htim8, &sConfigIC, TIM_CHANNEL_1) != HAL_OK) {
		Error_Handler();
	}

}

static void MX_USART2_UART_Init(void) {

	huart2.Instance = USART2;
	huart2.Init.BaudRate = 115200;
	huart2.Init.WordLength = UART_WORDLENGTH_8B;
	huart2.Init.StopBits = UART_STOPBITS_1;
	huart2.Init.Parity = UART_PARITY_NONE;
	huart2.Init.Mode = UART_MODE_TX_RX;
	huart2.Init.HwFlowCtl = UART_HWCONTROL_NONE;
	huart2.Init.OverSampling = UART_OVERSAMPLING_16;
	if (HAL_UART_Init(&huart2) != HAL_OK) {
		Error_Handler();
	}

}

static void MX_GPIO_Init(void) {
	GPIO_InitTypeDef GPIO_InitStruct = { 0 };

	/* GPIO Ports Clock Enable */
	__HAL_RCC_GPIOC_CLK_ENABLE();
	__HAL_RCC_GPIOH_CLK_ENABLE();
	__HAL_RCC_GPIOA_CLK_ENABLE();
	__HAL_RCC_GPIOB_CLK_ENABLE();

	/*Configure GPIO pin Output Level */
	HAL_GPIO_WritePin(GPIOC, GPIO_PIN_8 | GPIO_PIN_9, GPIO_PIN_RESET);

	/*Configure GPIO pin Output Level */
	HAL_GPIO_WritePin(GPIOA, GPIO_PIN_12, GPIO_PIN_RESET);

	/*Configure GPIO pins : PC13 PC7 */
	GPIO_InitStruct.Pin = GPIO_PIN_13 | GPIO_PIN_7;
	GPIO_InitStruct.Mode = GPIO_MODE_IT_RISING_FALLING;
	GPIO_InitStruct.Pull = GPIO_NOPULL;
	HAL_GPIO_Init(GPIOC, &GPIO_InitStruct);

	/*Configure GPIO pin : PC0 */
	GPIO_InitStruct.Pin = GPIO_PIN_0;
	GPIO_InitStruct.Mode = GPIO_MODE_INPUT;
	GPIO_InitStruct.Pull = GPIO_NOPULL;
	HAL_GPIO_Init(GPIOC, &GPIO_InitStruct);

	/*Configure GPIO pins : PC8 PC9 */
	GPIO_InitStruct.Pin = GPIO_PIN_8 | GPIO_PIN_9;
	GPIO_InitStruct.Mode = GPIO_MODE_OUTPUT_PP;
	GPIO_InitStruct.Pull = GPIO_NOPULL;
	GPIO_InitStruct.Speed = GPIO_SPEED_FREQ_LOW;
	HAL_GPIO_Init(GPIOC, &GPIO_InitStruct);

	/*Configure GPIO pin : PA12 */
	GPIO_InitStruct.Pin = GPIO_PIN_12;
	GPIO_InitStruct.Mode = GPIO_MODE_OUTPUT_PP;
	GPIO_InitStruct.Pull = GPIO_NOPULL;
	GPIO_InitStruct.Speed = GPIO_SPEED_FREQ_LOW;
	HAL_GPIO_Init(GPIOA, &GPIO_InitStruct);

	/* EXTI interrupt init*/
	HAL_NVIC_SetPriority(EXTI9_5_IRQn, 0, 0);
	HAL_NVIC_EnableIRQ(EXTI9_5_IRQn);

	HAL_NVIC_SetPriority(EXTI15_10_IRQn, 0, 0);
	HAL_NVIC_EnableIRQ(EXTI15_10_IRQn);

}

void Error_Handler(void) {
	__disable_irq();
	while (1) {
	}
}
